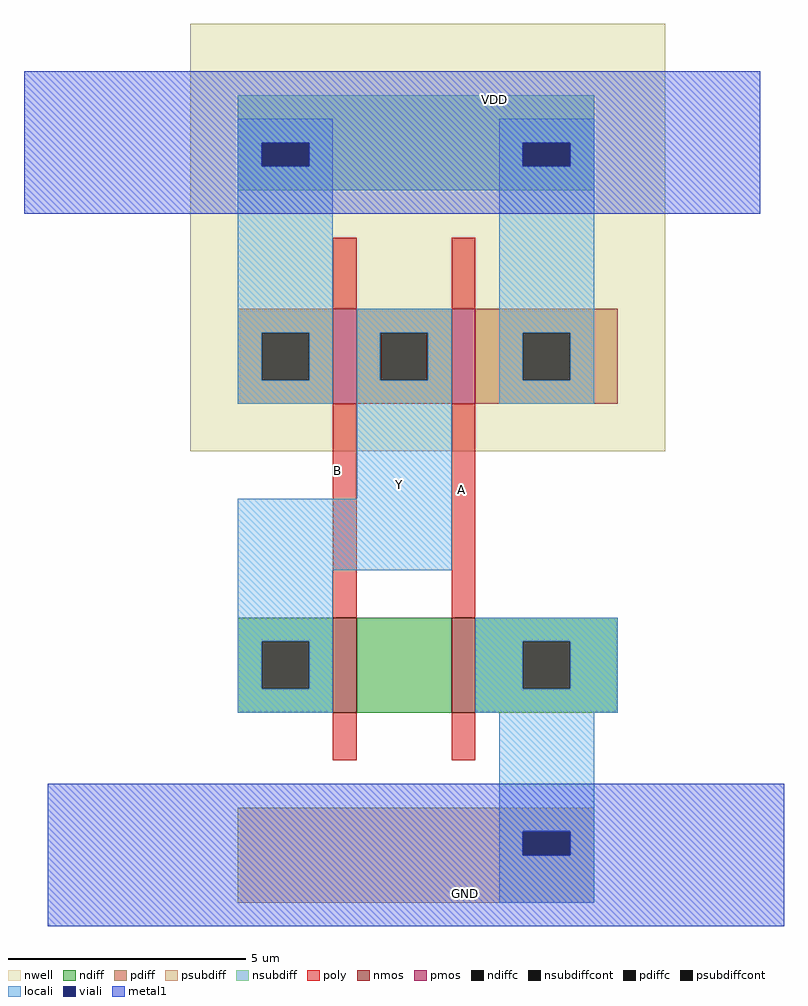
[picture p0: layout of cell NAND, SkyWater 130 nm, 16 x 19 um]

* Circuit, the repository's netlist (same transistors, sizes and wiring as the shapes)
* NGSPICE file created from NAND.ext - technology: sky130A

.subckt NAND A B Y VDD GND
X0 VDD A Y VDD sky130_fd_pr__pfet_01v8 ad=6 pd=10 as=2 ps=4 w=2 l=0.5
X1 GND A a_n200_n1400# GND sky130_fd_pr__nfet_01v8 ad=6 pd=10 as=2 ps=4 w=2 l=0.5
X2 Y B VDD VDD sky130_fd_pr__pfet_01v8 ad=2 pd=4 as=4 ps=8 w=2 l=0.5
X3 a_n200_n1400# B Y GND sky130_fd_pr__nfet_01v8 ad=2 pd=4 as=4 ps=8 w=2 l=0.5
.ends

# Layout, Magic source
magic
tech sky130A
<< nwell >>
rect -450 -150 550 750
<< nmos >>
rect -150 -700 -100 -500
rect 100 -700 150 -500
<< pmos >>
rect -150 -50 -100 150
rect 100 -50 150 150
<< ndiff >>
rect -350 -550 -150 -500
rect -350 -650 -300 -550
rect -200 -650 -150 -550
rect -350 -700 -150 -650
rect -100 -700 100 -500
rect 150 -550 450 -500
rect 150 -650 250 -550
rect 350 -650 450 -550
rect 150 -700 450 -650
<< pdiff >>
rect -350 100 -150 150
rect -350 0 -300 100
rect -200 0 -150 100
rect -350 -50 -150 0
rect -100 100 100 150
rect -100 0 -50 100
rect 50 0 100 100
rect -100 -50 100 0
rect 150 100 450 150
rect 150 0 250 100
rect 350 0 450 100
rect 150 -50 450 0
<< ndiffc >>
rect -300 -650 -200 -550
rect 250 -650 350 -550
<< pdiffc >>
rect -300 0 -200 100
rect -50 0 50 100
rect 250 0 350 100
<< psubdiff >>
rect -350 -950 400 -900
rect -350 -1000 250 -950
rect 350 -1000 400 -950
rect -350 -1100 400 -1000
<< nsubdiff >>
rect -350 500 400 600
rect -350 450 -300 500
rect -200 450 250 500
rect 350 450 400 500
rect -350 400 400 450
<< psubdiffcont >>
rect 250 -1000 350 -950
<< nsubdiffcont >>
rect -300 450 -200 500
rect 250 450 350 500
<< poly >>
rect -150 150 -100 300
rect 100 150 150 300
rect -150 -500 -100 -50
rect 100 -500 150 -50
rect -150 -800 -100 -700
rect 100 -800 150 -700
<< locali >>
rect -350 500 -150 550
rect -350 450 -300 500
rect -200 450 -150 500
rect -350 100 -150 450
rect 200 500 400 550
rect 200 450 250 500
rect 350 450 400 500
rect -350 0 -300 100
rect -200 0 -150 100
rect -350 -50 -150 0
rect -100 100 100 150
rect -100 0 -50 100
rect 50 0 100 100
rect -100 -250 100 0
rect 200 100 400 450
rect 200 0 250 100
rect 350 0 400 100
rect 200 -50 400 0
rect -350 -400 100 -250
rect -350 -550 -150 -400
rect -350 -650 -300 -550
rect -200 -650 -150 -550
rect -350 -700 -150 -650
rect 150 -550 450 -500
rect 150 -650 250 -550
rect 350 -650 450 -550
rect 150 -700 450 -650
rect 200 -950 400 -700
rect 200 -1000 250 -950
rect 350 -1000 400 -950
rect 200 -1100 400 -1000
<< viali >>
rect -300 450 -200 500
rect 250 450 350 500
rect 250 -1000 350 -950
<< metal1 >>
rect -800 500 750 650
rect -800 450 -300 500
rect -200 450 250 500
rect 350 450 750 500
rect -800 350 750 450
rect -750 -950 800 -850
rect -750 -1000 250 -950
rect 350 -1000 800 -950
rect -750 -1150 800 -1000
<< labels >>
rlabel poly 120 -230 120 -230 7 A
port 1 w
rlabel poly -140 -190 -140 -190 7 B
port 2 w
rlabel locali -10 -220 -10 -220 3 Y
port 3 e
rlabel metal1 190 590 190 590 7 VDD
port 4 w
rlabel metal1 130 -1080 130 -1080 7 GND
port 5 w
<< end >>
